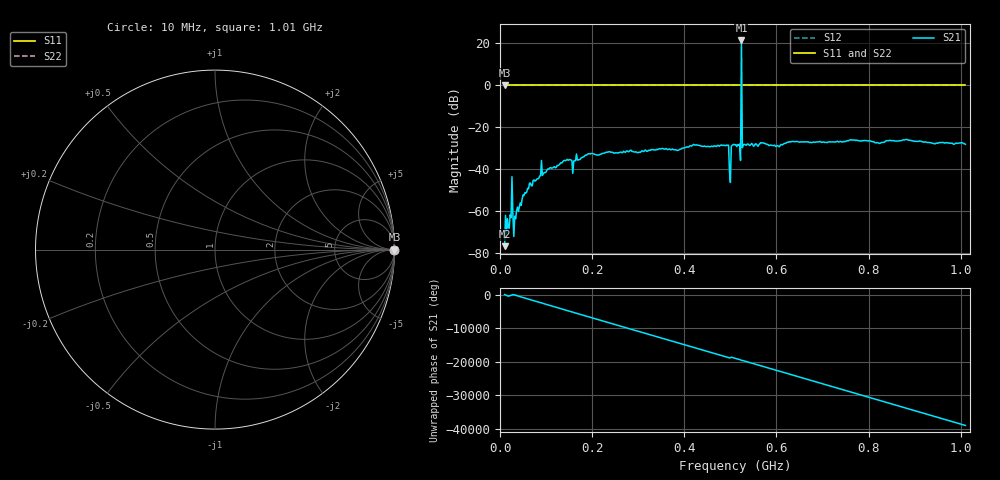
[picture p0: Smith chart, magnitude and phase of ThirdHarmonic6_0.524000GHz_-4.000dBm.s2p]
! 8/15/2025 4:10:50 PM
! C:\ANRITSUVNA\TEMP\TEMP.S2P
! CHANNEL.1
! TR.MEASUREMENT
! RAW.DATA
! RF.CORRECTION.OFF
! AVERAGING.OFF
! IF.BANDWIDTH: 5KHZ
! SWEEPTYPE:  FREQ.SWEEP(Linear)
! Reference Plane Port Info
! PORT:  PORT1  PORT2
! DISTANCE:  0  m  0  m
! TIME:  0  s  0  s
! PHASE.OFFSET:  0  deg.  0  deg.
! LOSS:  0  dB  0  dB
! REF.LOSS:  0  dB  0  dB
! REF.FREQ:  0  Hz  0  Hz
! Power Info
! POWER:  -20  dBm  -20  dBm
! EFF.POWER:  -20  dBm  -20  dBm
! SOURCE.ATTEN:  0  dB  0  dB
! TEST.ATTEN:  0  dB  0  dB
# GHZ S RI R 50.0
! FREQ.GHZ  S11RE  S11IM  S21RE  S21IM  S12RE  S12IM  S22RE  S22IM
!; PortSelection: Port_12
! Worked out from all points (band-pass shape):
!   501 points, 10 MHz to 1.01 GHz, reference 50 ohm
!   highest |S21| = 21.36 dB at 524 MHz (marker M1); lowest = -76.5 dB at 10 MHz (marker M2)
!   |S21| within 3 dB of the highest: 523.895 MHz to 524.1176 MHz (222.6 kHz wide, 0.0425 % of centre)
!   lowest |S11| = 0.0 dB at 10 MHz (marker M3)
!   |S11| at or under -10 dB: nowhere
!   |S22| runs from 0.0 to 0.0 dB; largest |S21 - S12| = 12
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0.01  1 0  -0.000139 5.5e-05  1 0  1 0
0.024  1 0  0.00041 -0.000583  1 0  1 0
0.03  1 0  0.000131 0.000218  1 0  1 0
0.032  1 0  0.000749 0.000175  1 0  1 0
0.052  1 0  -0.000191 -0.00239  1 0  1 0
0.086  1 0  0.00516 -0.00465  1 0  1 0
0.178  1 0  -0.0188 -0.00303  1 0  1 0
0.344  1 0  0.0286 -0.0103  1 0  1 0
0.492  1 0  -0.033 0.019  1 0  1 0
0.496  1 0  0.037 -0.00762  1 0  1 0
0.5  1 0  0.00229 -0.00434  1 0  1 0
0.502  1 0  -0.0105 0.0339  1 0  1 0
0.506  1 0  0.0236 -0.0309  1 0  1 0
0.51  1 0  -0.0325 0.0205  1 0  1 0
0.518  1 0  -0.0377 -0.00371  1 0  1 0
0.52  1 0  -0.00993 0.0388  1 0  1 0
0.524  1 0  -8.957 -7.526  1 0  1 0
0.528  1 0  -0.0304 0.0241  1 0  1 0
0.53  1 0  0.0195 0.0343  1 0  1 0
0.678  1 0  -0.0279 -0.0337  1 0  1 0
0.844  1 0  0.0431 0.0224  1 0  1 0
1.01  1 0  -0.0395 0.00346  1 0  1 0
